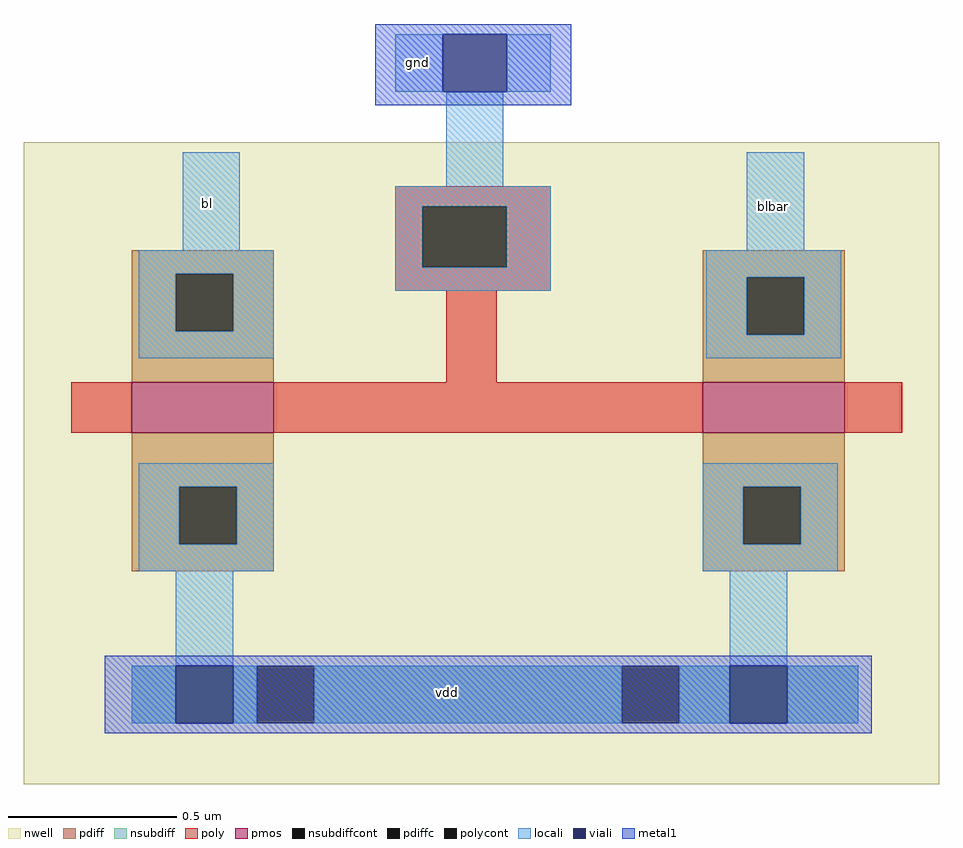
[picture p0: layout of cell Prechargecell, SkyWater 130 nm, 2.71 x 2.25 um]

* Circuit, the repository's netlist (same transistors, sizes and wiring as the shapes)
*Model Description
.param temp=27
.param supl = 1.8V

*Including sky130 device model
.lib "sky130_fd_pr/models/sky130.lib.spice" tt

Vdd vdd 0 {supl}

XM1 bl pclk vdd vdd sky130_fd_pr__pfet_01v8 w=.42 l=.15 m=1
XM2 blbar pclk vdd vdd sky130_fd_pr__pfet_01v8 w=.42 l=.15 m=1



*Test Pulses

v1 pclk 0 pulse(0 1.8 0.1ns 60ps 60ps 30ns 60ns)
 
*Cload bl 0 10fF
*Cload blbar 0 10fF
.tran 2e-12 100e-09 0e-0


**************Control statements
.control
run 

plot pclk bl-4 blbar-6

.end

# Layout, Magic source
magic
tech sky130A
<< nwell >>
rect 76 -104 347 86
<< pmos >>
rect 108 0 150 15
rect 277 0 319 15
<< pdiff >>
rect 108 47 150 54
rect 108 30 121 47
rect 138 30 150 47
rect 277 46 319 54
rect 108 15 150 30
rect 277 29 290 46
rect 307 29 319 46
rect 277 15 319 29
rect 108 -16 150 0
rect 108 -33 122 -16
rect 139 -33 150 -16
rect 108 -41 150 -33
rect 277 -16 319 0
rect 277 -33 289 -16
rect 306 -33 319 -16
rect 277 -41 319 -33
<< pdiffc >>
rect 121 30 138 47
rect 290 29 307 46
rect 122 -33 139 -16
rect 289 -33 306 -16
<< nsubdiff >>
rect 108 -86 145 -69
rect 162 -86 253 -69
rect 270 -86 323 -69
<< nsubdiffcont >>
rect 145 -86 162 -69
rect 253 -86 270 -69
<< poly >>
rect 186 67 232 73
rect 186 49 194 67
rect 219 49 232 67
rect 186 42 232 49
rect 201 15 216 42
rect 90 0 108 15
rect 150 0 277 15
rect 319 0 336 15
<< polycont >>
rect 194 49 219 67
<< locali >>
rect 186 101 200 118
rect 219 101 232 118
rect 123 54 140 83
rect 201 73 218 101
rect 186 67 232 73
rect 110 47 150 54
rect 110 30 121 47
rect 138 30 150 47
rect 186 49 194 67
rect 219 49 232 67
rect 290 54 307 83
rect 186 42 232 49
rect 278 46 318 54
rect 110 22 150 30
rect 278 29 290 46
rect 307 29 318 46
rect 278 22 318 29
rect 110 -16 150 -9
rect 110 -33 122 -16
rect 139 -33 150 -16
rect 110 -41 150 -33
rect 277 -16 317 -9
rect 277 -33 289 -16
rect 306 -33 317 -16
rect 277 -41 317 -33
rect 121 -69 138 -41
rect 285 -69 302 -41
rect 108 -86 121 -69
rect 138 -86 145 -69
rect 162 -86 253 -69
rect 270 -86 285 -69
rect 302 -86 323 -69
<< viali >>
rect 200 101 219 118
rect 121 -86 138 -69
rect 285 -86 302 -69
<< metal1 >>
rect 180 118 238 121
rect 180 101 200 118
rect 219 101 238 118
rect 180 97 238 101
rect 100 -69 327 -66
rect 100 -86 121 -69
rect 138 -86 285 -69
rect 302 -86 327 -69
rect 100 -89 327 -86
<< labels >>
flabel metal1 185 -82 218 -72 0 FreeSans 64 0 0 0 vdd
flabel locali 290 61 306 73 0 FreeSans 64 0 0 0 blbar
flabel locali 123 62 138 74 0 FreeSans 64 0 0 0 bl
flabel metal1 186 101 199 118 0 FreeSans 72 0 0 0 gnd
<< end >>
